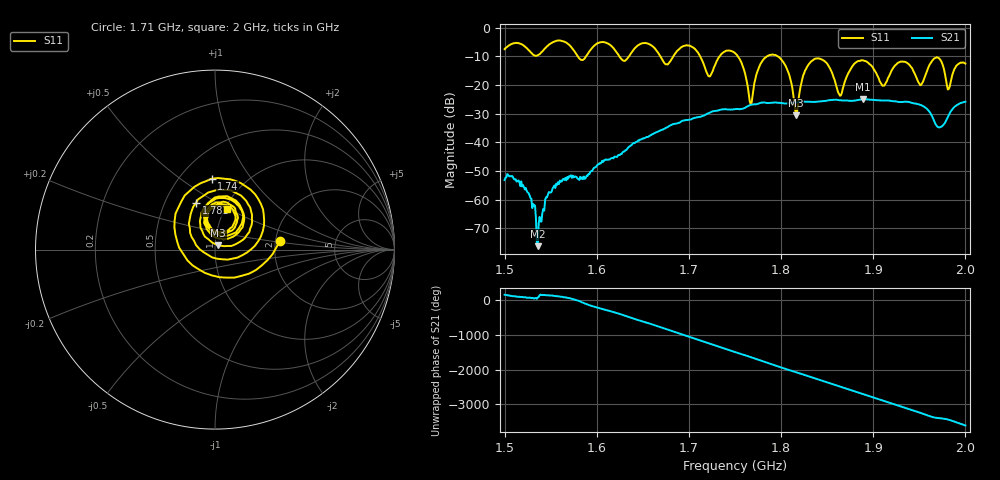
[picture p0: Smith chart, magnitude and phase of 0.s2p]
! NanoVNA-App by SYSJOINT et al v1.1.209 (+OD18)
! Date: 2026-01-21 14:06:31
! Start: 1,5GHz Stop: 2GHz Points: 501
! S-Parameter data: F S11 S21 S12 S22
# Hz S RI R 50
!  Frequency  S11_Real  S11_Imag  S21_Real  S21_Imag  S12_Real  S12_Imag  S22_Real  S22_Imag
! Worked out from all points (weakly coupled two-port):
!   501 points, 1.5 GHz to 2 GHz, reference 50 ohm
!   highest |S21| = -24.98 dB at 1.889 GHz (marker M1); lowest = -76.2 dB at 1.536 GHz (marker M2)
!   lowest |S11| = -30.5 dB at 1.816 GHz (marker M3), VSWR 1.06, Z = 51.7 + j2.47 ohm
!   |S11| at or under -10 dB: 1.712 GHz to 1.733 GHz (21.11 MHz wide, 1.23 % of centre); 1.753 GHz to 1.785 GHz (31.4 MHz wide, 1.78 % of centre); 1.797 GHz to end of sweep (the widest 3 of 6)
!   S12 and S22 are empty: the file has one direction only
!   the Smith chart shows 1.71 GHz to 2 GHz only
!   S11 on the Smith chart (normalised r, x): 1.71 GHz: 2.12, +0.24; 1.74 GHz: 0.71, +0.66; 1.781 GHz: 0.71, +0.40; 2 GHz: 1.02, +0.49
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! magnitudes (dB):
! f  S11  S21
! 1.5 GHz  -7.5  -53.1
! 1.525 GHz  -7.4  -57.4
! 1.536 GHz  -9.6  -76.2
! 1.554 GHz  -4.8  -55.0
! 1.584 GHz  -11.3  -52.2
! 1.667 GHz  -8.9  -36.1
! 1.71 GHz  -8.7  -31.2
! 1.722 GHz  -17.0  -29.7
! 1.74 GHz  -8.1  -28.4
! 1.75 GHz  -8.8  -28.4
! 1.767 GHz  -26.7  -26.9
! 1.781 GHz  -11.0  -26.1
! 1.803 GHz  -12.3  -26.4
! 1.816 GHz  -30.5  -26.1
! 1.834 GHz  -11.5  -25.9
! 1.864 GHz  -23.7  -25.3
! 1.889 GHz  -11.4  -25.0
! 1.917 GHz  -17.0  -25.4
! 1.952 GHz  -20.0  -27.0
! 1.972 GHz  -10.9  -34.8
! 1.982 GHz  -21.3  -30.5
! 2 GHz  -12.5  -25.8
